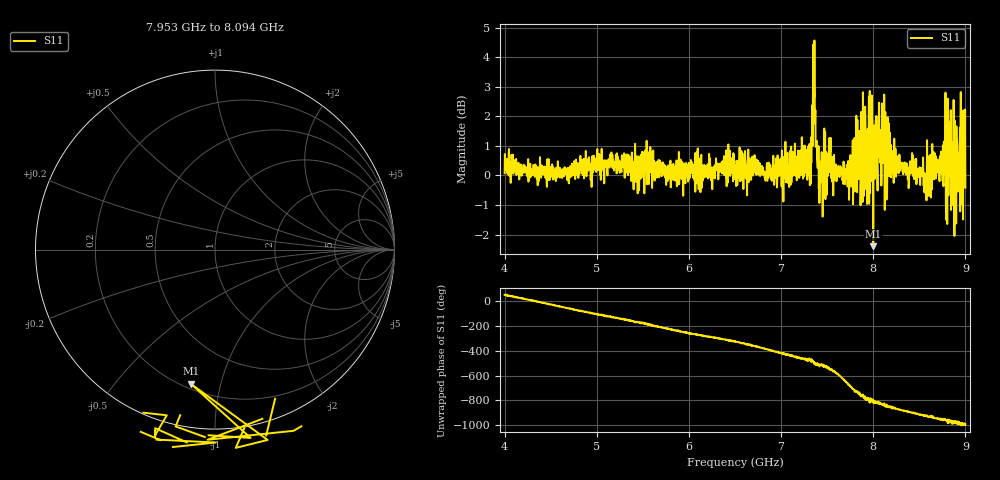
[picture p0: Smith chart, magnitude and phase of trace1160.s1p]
! Created with skrf 1.8.0 (http://scikit-rf.org).
# Hz S RI R 50.0
!freq ReS11 ImS11
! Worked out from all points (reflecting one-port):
!   1601 points, 4 GHz to 9 GHz, reference 50 ohm
!   lowest |S11| = -2.4 dB at 8 GHz (marker M1), VSWR 7.31, Z = 11.5 - j40.4 ohm
!   phase of S11 starts at 52 deg and turns -1045 deg over the sweep
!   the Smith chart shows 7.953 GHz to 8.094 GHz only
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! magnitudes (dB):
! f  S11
! 4 GHz  0.1
! 4.625 GHz  -0.1
! 5.25 GHz  0.1
! 5.875 GHz  0.0
! 6.5 GHz  0.2
! 7.125 GHz  0.8
! 7.303 GHz  0.0
! 7.356 GHz  3.2
! 7.372 GHz  2.2
! 7.4 GHz  1.0
! 7.428 GHz  0.4
! 7.525 GHz  1.3
! 7.591 GHz  0.3
! 7.75 GHz  0.0
! 7.891 GHz  0.1
! 7.916 GHz  1.8
! 7.928 GHz  1.5
! 8 GHz  -2.4
! 8.05 GHz  1.3
! 8.066 GHz  0.9
! 8.094 GHz  2.4
! 8.147 GHz  0.8
! 8.375 GHz  -0.1
! 8.556 GHz  -0.6
! 8.819 GHz  0.5
! 8.856 GHz  0.5
! 8.956 GHz  0.1
! 9 GHz  -0.4
